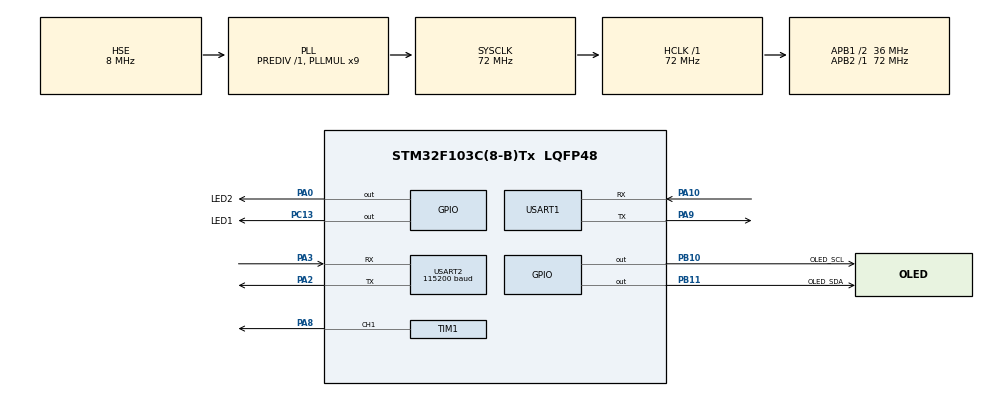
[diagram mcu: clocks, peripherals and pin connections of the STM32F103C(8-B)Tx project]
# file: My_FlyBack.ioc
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Dma.Request0=USART2_RX
Dma.Request1=USART2_TX
Dma.USART2_RX.0.Direction=DMA_PERIPH_TO_MEMORY
Dma.USART2_RX.0.Instance=DMA1_Channel6
Dma.USART2_RX.0.MemDataAlignment=DMA_MDATAALIGN_BYTE
Dma.USART2_RX.0.MemInc=DMA_MINC_ENABLE
Dma.USART2_RX.0.Mode=DMA_CIRCULAR
Dma.USART2_RX.0.PeriphDataAlignment=DMA_PDATAALIGN_BYTE
Dma.USART2_RX.0.PeriphInc=DMA_PINC_DISABLE
Dma.USART2_RX.0.Priority=DMA_PRIORITY_HIGH
Dma.USART2_TX.1.Direction=DMA_MEMORY_TO_PERIPH
Dma.USART2_TX.1.Instance=DMA1_Channel7
Dma.USART2_TX.1.MemDataAlignment=DMA_MDATAALIGN_BYTE
Dma.USART2_TX.1.MemInc=DMA_MINC_ENABLE
Dma.USART2_TX.1.Mode=DMA_CIRCULAR
Dma.USART2_TX.1.PeriphDataAlignment=DMA_PDATAALIGN_BYTE
Dma.USART2_TX.1.PeriphInc=DMA_PINC_DISABLE
Dma.USART2_TX.1.Priority=DMA_PRIORITY_LOW
Mcu.Family=STM32F1
Mcu.Name=STM32F103C(8-B)Tx
Mcu.Package=LQFP48
NVIC.DMA1_Channel6_IRQn=true\:0\:0\:false\:false\:true\:false\:true\:true
NVIC.DMA1_Channel7_IRQn=true\:0\:0\:false\:false\:true\:false\:true\:true
NVIC.PriorityGroup=NVIC_PRIORITYGROUP_4
NVIC.TIM2_IRQn=true\:2\:0\:true\:false\:true\:true\:true\:true
NVIC.USART2_IRQn=true\:0\:0\:false\:false\:true\:true\:true\:true
PA0-WKUP.GPIO_Label=LED2
PA0-WKUP.Signal=GPIO_Output
PA10.Mode=Asynchronous
PA10.Signal=USART1_RX
PA13.Mode=Serial_Wire
PA13.Signal=SYS_JTMS-SWDIO
PA14.Mode=Serial_Wire
PA14.Signal=SYS_JTCK-SWCLK
PA2.Mode=Asynchronous
PA2.Signal=USART2_TX
PA3.Mode=Asynchronous
PA3.Signal=USART2_RX
PA8.Signal=S_TIM1_CH1
PA9.Mode=Asynchronous
PA9.Signal=USART1_TX
PB10.GPIO_Label=OLED_SCL
PB10.GPIO_Speed=GPIO_SPEED_FREQ_HIGH
PB10.Signal=GPIO_Output
PB11.GPIO_Label=OLED_SDA
PB11.GPIO_ModeDefaultOutputPP=GPIO_MODE_OUTPUT_OD
PB11.GPIO_PuPd=GPIO_PULLUP
PB11.GPIO_Speed=GPIO_SPEED_FREQ_HIGH
PB11.Signal=GPIO_Output
PC13-TAMPER-RTC.GPIO_Label=LED1
PC13-TAMPER-RTC.Signal=GPIO_Output
PD0-OSC_IN.Mode=HSE-External-Oscillator
PD0-OSC_IN.Signal=RCC_OSC_IN
PD1-OSC_OUT.Mode=HSE-External-Oscillator
PD1-OSC_OUT.Signal=RCC_OSC_OUT
ProjectManager.HeapSize=0x200
ProjectManager.StackSize=0x400
ProjectManager.TargetToolchain=SW4STM32
RCC.ADCPresc=RCC_ADCPCLK2_DIV6
RCC.AHBFreq_Value=72000000
RCC.APB1CLKDivider=RCC_HCLK_DIV2
RCC.APB1Freq_Value=36000000
RCC.APB1TimFreq_Value=72000000
RCC.APB2Freq_Value=72000000
RCC.APB2TimFreq_Value=72000000
RCC.HCLKFreq_Value=72000000
RCC.PLLMUL=RCC_PLL_MUL9
RCC.PLLSourceVirtual=RCC_PLLSOURCE_HSE
RCC.SYSCLKFreq_VALUE=72000000
RCC.SYSCLKSource=RCC_SYSCLKSOURCE_PLLCLK
RCC.USBFreq_Value=72000000
SH.S_TIM1_CH1.0=TIM1_CH1,PWM Generation1 CH1
TIM1.Channel-PWM\ Generation1\ CH1=TIM_CHANNEL_1
TIM1.Period=100 - 1
TIM1.Prescaler=720 - 1
TIM1.Pulse-PWM\ Generation1\ CH1=50
TIM2.Period=1000 - 1
TIM2.Prescaler=720 - 1
USART1.VirtualMode=VM_ASYNC
USART2.BaudRate=115200
USART2.VirtualMode=VM_ASYNC
VP_TIM1_VS_ClockSourceINT.Mode=Internal
VP_TIM2_VS_ClockSourceINT.Mode=Internal
board=custom

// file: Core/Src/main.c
/* USER CODE BEGIN Header */
/**
  ******************************************************************************
  * @file           : main.c
  * @brief          : Main program body
  ******************************************************************************
  * @attention
  *
  * Copyright (c) 2023 STMicroelectronics.
  * All rights reserved.
  *
  * This software is licensed under terms that can be found in the LICENSE file
  * in the root directory of this software component.
  * If no LICENSE file comes with this software, it is provided AS-IS.
  *
  ******************************************************************************
  */
/* USER CODE END Header */
#include "main.h"
#include "dma.h"
#include "tim.h"
#include "usart.h"
#include "gpio.h"

/* USER CODE BEGIN Includes */
#include "string.h"
#include "retarget.h"
#include "Motor.h"
#include "Uart_RxPackage.h"
#include "OLED.h"

#include "MyKey.h"

/* USER CODE END Includes */

void SystemClock_Config(void);

/* USER CODE BEGIN 0 */
uint16_t i = 0;
UartRx_Package Uart2_Package;

/* USER CODE END 0 */

int main(void)
{

  /* MCU Configuration--------------------------------------------------------*/

  /* Reset of all peripherals, Initializes the Flash interface and the Systick. */
  HAL_Init();

  /* USER CODE BEGIN Init */
    RetargetInit(&huart1); //重定向串口一
    //HAL_DMA_Start(&hdma1,);
  /* USER CODE END Init */

  /* Configure the system clock */
  SystemClock_Config();

  /* Initialize all configured peripherals */
  MX_GPIO_Init();
  MX_TIM1_Init();
  MX_TIM2_Init();
  MX_DMA_Init();
  MX_USART2_UART_Init();
  MX_USART1_UART_Init();
  /* USER CODE BEGIN 2 */
    HAL_TIM_Base_Start_IT(&htim2);
    Uart_RxPackage_Init(&Uart2_Package,&htim2,100,&huart2); //初始化串口接收数组
    Uart_PackageStart(&Uart2_Package);
    HAL_Delay(250);

    OLED_Init();
    OLED_ShowString(1,1,"Success");
    OLED_ShowString(3,7,"NICE!~~~~");

  /* USER CODE END 2 */

  /* Infinite loop */
  while (1)
  {

    /* USER CODE BEGIN 3 */
      HAL_GPIO_TogglePin(LED1_GPIO_Port,LED1_Pin);
      HAL_Delay(100);

    if(Uart2_Package.RxEndFalg == 1) //说明串口中断接收结束
    {
        Uart_DoTask(&Uart2_Package);
    }
  }
  /* USER CODE END 3 */
}

void SystemClock_Config(void)
{
  RCC_OscInitTypeDef RCC_OscInitStruct = {0};
  RCC_ClkInitTypeDef RCC_ClkInitStruct = {0};

  /** Initializes the RCC Oscillators according to the specified parameters
  * in the RCC_OscInitTypeDef structure.
  */
  RCC_OscInitStruct.OscillatorType = RCC_OSCILLATORTYPE_HSE;
  RCC_OscInitStruct.HSEState = RCC_HSE_ON;
  RCC_OscInitStruct.HSEPredivValue = RCC_HSE_PREDIV_DIV1;
  RCC_OscInitStruct.HSIState = RCC_HSI_ON;
  RCC_OscInitStruct.PLL.PLLState = RCC_PLL_ON;
  RCC_OscInitStruct.PLL.PLLSource = RCC_PLLSOURCE_HSE;
  RCC_OscInitStruct.PLL.PLLMUL = RCC_PLL_MUL9;
  if (HAL_RCC_OscConfig(&RCC_OscInitStruct) != HAL_OK)
  {
    Error_Handler();
  }

  /** Initializes the CPU, AHB and APB buses clocks
  */
  RCC_ClkInitStruct.ClockType = RCC_CLOCKTYPE_HCLK|RCC_CLOCKTYPE_SYSCLK
                              |RCC_CLOCKTYPE_PCLK1|RCC_CLOCKTYPE_PCLK2;
  RCC_ClkInitStruct.SYSCLKSource = RCC_SYSCLKSOURCE_PLLCLK;
  RCC_ClkInitStruct.AHBCLKDivider = RCC_SYSCLK_DIV1;
  RCC_ClkInitStruct.APB1CLKDivider = RCC_HCLK_DIV2;
  RCC_ClkInitStruct.APB2CLKDivider = RCC_HCLK_DIV1;

  if (HAL_RCC_ClockConfig(&RCC_ClkInitStruct, FLASH_LATENCY_2) != HAL_OK)
  {
    Error_Handler();
  }
}

void Error_Handler(void)
{
  __disable_irq();
  while (1)
  {
  }
}
